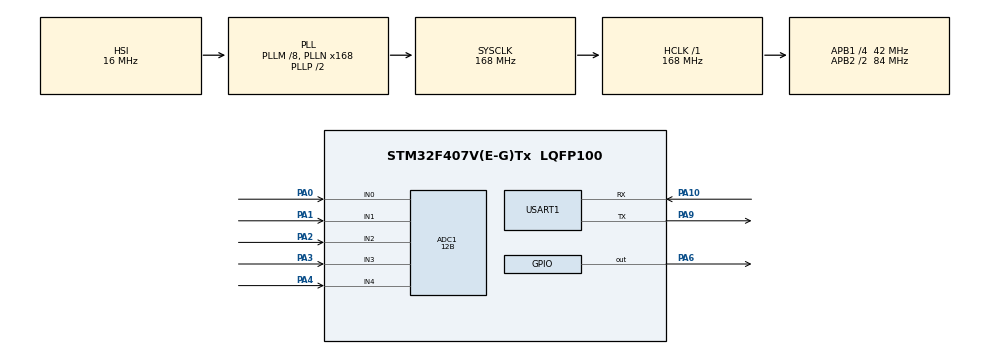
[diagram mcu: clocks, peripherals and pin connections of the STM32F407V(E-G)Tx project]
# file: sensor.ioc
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ADC1.Channel-3\#ChannelRegularConversion=ADC_CHANNEL_0
ADC1.Channel-4\#ChannelRegularConversion=ADC_CHANNEL_1
ADC1.Channel-5\#ChannelRegularConversion=ADC_CHANNEL_2
ADC1.Channel-6\#ChannelRegularConversion=ADC_CHANNEL_3
ADC1.Channel-7\#ChannelRegularConversion=ADC_CHANNEL_4
ADC1.ContinuousConvMode=ENABLE
ADC1.DMAContinuousRequests=ENABLE
ADC1.NbrOfConversion=5
ADC1.NbrOfConversionFlag=1
ADC1.Rank-3\#ChannelRegularConversion=1
ADC1.Rank-4\#ChannelRegularConversion=2
ADC1.Rank-5\#ChannelRegularConversion=3
ADC1.Rank-6\#ChannelRegularConversion=4
ADC1.Rank-7\#ChannelRegularConversion=5
ADC1.Resolution=ADC_RESOLUTION_12B
ADC1.SamplingTime-3\#ChannelRegularConversion=ADC_SAMPLETIME_3CYCLES
ADC1.SamplingTime-4\#ChannelRegularConversion=ADC_SAMPLETIME_3CYCLES
ADC1.SamplingTime-5\#ChannelRegularConversion=ADC_SAMPLETIME_3CYCLES
ADC1.SamplingTime-6\#ChannelRegularConversion=ADC_SAMPLETIME_3CYCLES
ADC1.SamplingTime-7\#ChannelRegularConversion=ADC_SAMPLETIME_3CYCLES
ADC1.master=1
Dma.ADC1.0.Direction=DMA_PERIPH_TO_MEMORY
Dma.ADC1.0.FIFOMode=DMA_FIFOMODE_DISABLE
Dma.ADC1.0.Instance=DMA2_Stream0
Dma.ADC1.0.MemDataAlignment=DMA_MDATAALIGN_WORD
Dma.ADC1.0.MemInc=DMA_MINC_ENABLE
Dma.ADC1.0.Mode=DMA_CIRCULAR
Dma.ADC1.0.PeriphDataAlignment=DMA_PDATAALIGN_WORD
Dma.ADC1.0.PeriphInc=DMA_PINC_DISABLE
Dma.ADC1.0.Priority=DMA_PRIORITY_LOW
Dma.Request0=ADC1
Dma.Request1=USART1_TX
Dma.Request2=USART1_RX
Dma.USART1_RX.2.Direction=DMA_PERIPH_TO_MEMORY
Dma.USART1_RX.2.FIFOMode=DMA_FIFOMODE_DISABLE
Dma.USART1_RX.2.Instance=DMA2_Stream2
Dma.USART1_RX.2.MemDataAlignment=DMA_MDATAALIGN_BYTE
Dma.USART1_RX.2.MemInc=DMA_MINC_ENABLE
Dma.USART1_RX.2.Mode=DMA_NORMAL
Dma.USART1_RX.2.PeriphDataAlignment=DMA_PDATAALIGN_BYTE
Dma.USART1_RX.2.PeriphInc=DMA_PINC_DISABLE
Dma.USART1_RX.2.Priority=DMA_PRIORITY_LOW
Dma.USART1_TX.1.Direction=DMA_MEMORY_TO_PERIPH
Dma.USART1_TX.1.FIFOMode=DMA_FIFOMODE_DISABLE
Dma.USART1_TX.1.Instance=DMA2_Stream7
Dma.USART1_TX.1.MemDataAlignment=DMA_MDATAALIGN_BYTE
Dma.USART1_TX.1.MemInc=DMA_MINC_ENABLE
Dma.USART1_TX.1.Mode=DMA_NORMAL
Dma.USART1_TX.1.PeriphDataAlignment=DMA_PDATAALIGN_BYTE
Dma.USART1_TX.1.PeriphInc=DMA_PINC_DISABLE
Dma.USART1_TX.1.Priority=DMA_PRIORITY_LOW
Mcu.Family=STM32F4
Mcu.Name=STM32F407V(E-G)Tx
Mcu.Package=LQFP100
NVIC.DMA2_Stream0_IRQn=true\:0\:0\:false\:false\:true\:false\:true
NVIC.DMA2_Stream2_IRQn=true\:0\:0\:false\:false\:true\:false\:true
NVIC.DMA2_Stream7_IRQn=true\:0\:0\:false\:false\:true\:false\:true
NVIC.PriorityGroup=NVIC_PRIORITYGROUP_4
NVIC.RCC_IRQn=true\:0\:0\:false\:false\:true\:true\:false
PA0-WKUP.Signal=ADCx_IN0
PA1.Signal=ADCx_IN1
PA10.Mode=Asynchronous
PA10.Signal=USART1_RX
PA13.Mode=Serial_Wire
PA13.Signal=SYS_JTMS-SWDIO
PA14.Mode=Serial_Wire
PA14.Signal=SYS_JTCK-SWCLK
PA2.Signal=ADCx_IN2
PA3.Signal=ADCx_IN3
PA4.Signal=ADCx_IN4
PA6.Signal=GPIO_Output
PA9.Mode=Asynchronous
PA9.Signal=USART1_TX
PC14-OSC32_IN.Mode=LSE-External-Oscillator
PC14-OSC32_IN.Signal=RCC_OSC32_IN
PC15-OSC32_OUT.Mode=LSE-External-Oscillator
PC15-OSC32_OUT.Signal=RCC_OSC32_OUT
PH0-OSC_IN.Mode=HSE-External-Oscillator
PH0-OSC_IN.Signal=RCC_OSC_IN
PH1-OSC_OUT.Mode=HSE-External-Oscillator
PH1-OSC_OUT.Signal=RCC_OSC_OUT
ProjectManager.HeapSize=0x200
ProjectManager.StackSize=0x400
ProjectManager.TargetToolchain=MDK-ARM V5
RCC.48MHZClocksFreq_Value=84000000
RCC.AHBFreq_Value=168000000
RCC.APB1CLKDivider=RCC_HCLK_DIV4
RCC.APB1Freq_Value=42000000
RCC.APB1TimFreq_Value=84000000
RCC.APB2CLKDivider=RCC_HCLK_DIV2
RCC.APB2Freq_Value=84000000
RCC.APB2TimFreq_Value=168000000
RCC.CortexFreq_Value=168000000
RCC.HCLKFreq_Value=168000000
RCC.HSE_VALUE=8000000
RCC.HSI_VALUE=16000000
RCC.PLLM=8
RCC.PLLN=168
RCC.SYSCLKFreq_VALUE=168000000
RCC.SYSCLKSource=RCC_SYSCLKSOURCE_PLLCLK
RCC.VCOOutputFreq_Value=336000000
SH.ADCx_IN0.0=ADC1_IN0,IN0
SH.ADCx_IN1.0=ADC1_IN1,IN1
SH.ADCx_IN2.0=ADC1_IN2,IN2
SH.ADCx_IN3.0=ADC1_IN3,IN3
SH.ADCx_IN4.0=ADC1_IN4,IN4
USART1.VirtualMode=VM_ASYNC
board=custom

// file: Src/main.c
/* USER CODE BEGIN Header */
/**
  ******************************************************************************
  * @file           : main.c
  * @brief          : Main program body
  ******************************************************************************
  * @DEV      : Ratchaphon Khaemphukhieo KMTIL R&D 17/03/2019
  *
  * <h2><center>&copy; Copyright (c) 2019 STMicroelectronics.
  * All rights reserved.</center></h2>
  *
  * This software component is licensed by ST under BSD 3-Clause license,
  * the "License"; You may not use this file except in compliance with the
  * License. You may obtain a copy of the License at:
  *                        opensource.org/licenses/BSD-3-Clause
  *
  ******************************************************************************
  */
/* USER CODE END Header */

#include "main.h"
#include "stdio.h"
#include "string.h"
#include <stdlib.h>

ADC_HandleTypeDef hadc1;
DMA_HandleTypeDef hdma_adc1;

UART_HandleTypeDef huart1;
DMA_HandleTypeDef hdma_usart1_tx;
DMA_HandleTypeDef hdma_usart1_rx;

/* USER CODE BEGIN PV */
/* Private variables ---------------------------------------------------------*/
uint32_t _ADC_PA0,_ADC_PA1,_ADC_PA2,_ADC_PA3,_ADC_PA4;  // variables for analog sensor
uint32_t _buffer[5]; // buffer for DMA analog sensor
int32_t txFrame[10]; // buffer for protocol
char UART[21]; // buffer for test state using UART TX
char buff[7];  // buffer for test state using UART RX
char PWM_Buffer0[4]; // buffer for control PWM motor 00 state using UART RX
char PWM_Buffer1[4]; // buffer for control PWM motor 01 state using UART RX
uint8_t PWM_Control0 = 0; // variables PWM for motor 00
uint8_t PWM_Control1 = 0; // variables PWM for motor 01

/* USER CODE BEGIN STATE */

/* USER CODE BEGIN STATE */
uint8_t MAIN_STATE = 0;
uint8_t READ_STATE = 0;
uint8_t ADC_STATE = 0;
uint8_t I2C_MUX_STATE = 0;
uint8_t CONTROL_STATE = 0;
enum _MAIN_STATE { _IDLE, _READ, _CONTROL, _SENT };
enum _READ_STATE { _I2C_MUX, _ADC };
enum _I2C_MUX_STATE { _I2C_TOUCH0, _I2C_TOUCH1, _I2C_TOUCH2, _I2C_TOUCH3, _I2C_TOUCH4 };
enum _Format_Frame_STATE { _Format_Frame };
enum _CONTROL_STATE { _I2C_Haptic0, _I2C_Haptic1 };
/* USER CODE END STATE */

/* USER CODE END PV */

void SystemClock_Config(void);
static void MX_GPIO_Init(void);
static void MX_DMA_Init(void);
static void MX_ADC1_Init(void);
static void MX_USART1_UART_Init(void);
void _IDLE_CHECK_Func(void);
void _READ_STATE_Func(void);
void _I2C_MUX_STATE_func(void);
void _Format_Frame_STATE_Func(void);
void _CONTROL_STATE_Func(void);
void _SENT_Func(void);

/* USER CODE BEGIN DMA ADC */
void HAL_ADC_ConvCpltCallback(ADC_HandleTypeDef* hadc)
{
	for(int i=0;i<5;i++)
	{
		switch(i)
		{
			case 0 : _ADC_PA0 = _buffer[i]; break;
			case 1 : _ADC_PA1 = _buffer[i]; break;
			case 2 : _ADC_PA2 = _buffer[i]; break;
			case 3 : _ADC_PA3 = _buffer[i]; break;
			case 4 : _ADC_PA4 = _buffer[i]; break;
		}
	}
}
/* USER CODE END DMA ADC */

int main(void)
{

  /* MCU Configuration--------------------------------------------------------*/

  /* Reset of all peripherals, Initializes the Flash interface and the Systick. */
  HAL_Init();

  /* Configure the system clock */
  SystemClock_Config();

  /* Initialize all configured peripherals */
  MX_GPIO_Init();
  MX_DMA_Init();
  MX_ADC1_Init();
  MX_USART1_UART_Init();
  /* USER CODE BEGIN 2 */
	HAL_ADC_Start_DMA(&hadc1,_buffer,5);
  /* USER CODE END 2 */

  /* Infinite loop */
  /* USER CODE BEGIN WHILE */
  while (1)
  {
			/* MAIN_STATE */
			switch(MAIN_STATE)
			{
				case _IDLE : _IDLE_CHECK_Func(); break;
				case _READ : _READ_STATE_Func(); MAIN_STATE = _SENT; break;
				case _CONTROL : _CONTROL_STATE_Func(); MAIN_STATE = _IDLE; break;
				case _SENT : _SENT_Func(); MAIN_STATE = _IDLE; break;
				default : MAIN_STATE = _IDLE;
			}

  }
  /* USER CODE END 3 */
}

void _SENT_Func(void)
{
				for(int i=0;i<sizeof(txFrame)/sizeof(txFrame[0]);i++)
				{
					sprintf(UART,"txFrame[%d] = %d\r\n",i,txFrame[i]);
					HAL_UART_Transmit(&huart1,(uint8_t *)UART,sizeof(UART),sizeof(UART)/sizeof(UART[0]));
					for(int i=0;i<sizeof(UART)/sizeof(UART[0]);i++) UART[i] = 0;
				}
}

void _IDLE_CHECK_Func(void)
{
	memset( buff, 0, 7 );
	HAL_UART_Receive(&huart1, (uint8_t *)buff, 7, 10 );
	if(buff[0]=='r')
	{
		sprintf(UART,"RX = %s\r\n",buff);
		HAL_UART_Transmit(&huart1,(uint8_t *)UART,sizeof(UART),sizeof(UART)/sizeof(UART[0]));
		for(int i=0;i<sizeof(UART)/sizeof(UART[0]);i++) UART[i] = 0;
		MAIN_STATE = _READ;
	}
	else if(buff[0]=='c')
	{
		PWM_Buffer0[0] = buff[1];
		PWM_Buffer0[1] = buff[2];
		PWM_Buffer0[2] = buff[3];
		PWM_Buffer1[0] = buff[4];
		PWM_Buffer1[1] = buff[5];
		PWM_Buffer1[2] = buff[6];
		PWM_Control0 = atoi(PWM_Buffer0);
		PWM_Control1 = atoi(PWM_Buffer1);
		sprintf(UART,"RX = %s\r\n",buff);
		HAL_UART_Transmit(&huart1,(uint8_t *)UART,sizeof(UART),sizeof(UART)/sizeof(UART[0]));
		for(int i=0;i<sizeof(UART)/sizeof(UART[0]);i++) UART[i] = 0;
		MAIN_STATE = _CONTROL;
	}
	else MAIN_STATE = _IDLE;
}

void _READ_STATE_Func(void)
{
		switch(READ_STATE)
		{
			case _ADC :
			{
				txFrame[0] = _ADC_PA0;
				txFrame[1] = _ADC_PA1;
				txFrame[2] = _ADC_PA2;
				txFrame[3] = _ADC_PA3;
				txFrame[4] = _ADC_PA4;
				READ_STATE = _I2C_MUX;
			}
			case _I2C_MUX :
			{
				_I2C_MUX_STATE_func();
				READ_STATE = _ADC;
				break;
			}
			default : READ_STATE = _ADC;
		}
}

void _I2C_MUX_STATE_func(void)
{
		switch(I2C_MUX_STATE)
		{
			case _I2C_TOUCH0 :
			{
				txFrame[5] = 0;
				I2C_MUX_STATE = _I2C_TOUCH1;
			}
			case _I2C_TOUCH1 :
			{
				txFrame[6] = 0;
				I2C_MUX_STATE = _I2C_TOUCH2;
			}
			case _I2C_TOUCH2 :
			{
				txFrame[7] = 0;
				I2C_MUX_STATE = _I2C_TOUCH3;
			}
			case _I2C_TOUCH3 :
			{
				txFrame[8] = 0;
				I2C_MUX_STATE = _I2C_TOUCH4;
			}
			case _I2C_TOUCH4 :
			{
				txFrame[9] = 0;
				I2C_MUX_STATE = _I2C_TOUCH0;
				break;
			}
			default : I2C_MUX_STATE = _I2C_TOUCH0;
		}
}

void _Format_Frame_STATE_Func(void)
{
   // Create Protocol
}

void _CONTROL_STATE_Func(void)
{
		switch(CONTROL_STATE)
		{
			case _I2C_TOUCH0 :
			{
				//PWM_Control0 (0 - 100%)
				sprintf(UART,"PWM_Control0 = %d\r\n",PWM_Control0);
				HAL_UART_Transmit(&huart1,(uint8_t *)UART,sizeof(UART),sizeof(UART)/sizeof(UART[0]));
				for(int i=0;i<sizeof(UART)/sizeof(UART[0]);i++) UART[i] = 0;
				I2C_MUX_STATE = _I2C_Haptic1;
			}
			case _I2C_TOUCH1 :
			{
				//PWM_Control1 (0 - 100%)
				sprintf(UART,"PWM_Control1 = %d\r\n",PWM_Control1);
				HAL_UART_Transmit(&huart1,(uint8_t *)UART,sizeof(UART),sizeof(UART)/sizeof(UART[0]));
				for(int i=0;i<sizeof(UART)/sizeof(UART[0]);i++) UART[i] = 0;
				I2C_MUX_STATE = _I2C_Haptic0;
				break;
			}
		}
}

void SystemClock_Config(void)
{
  RCC_OscInitTypeDef RCC_OscInitStruct = {0};
  RCC_ClkInitTypeDef RCC_ClkInitStruct = {0};

  /** Configure the main internal regulator output voltage
  */
  __HAL_RCC_PWR_CLK_ENABLE();
  __HAL_PWR_VOLTAGESCALING_CONFIG(PWR_REGULATOR_VOLTAGE_SCALE1);
  /** Initializes the CPU, AHB and APB busses clocks
  */
  RCC_OscInitStruct.OscillatorType = RCC_OSCILLATORTYPE_HSI;
  RCC_OscInitStruct.HSIState = RCC_HSI_ON;
  RCC_OscInitStruct.HSICalibrationValue = RCC_HSICALIBRATION_DEFAULT;
  RCC_OscInitStruct.PLL.PLLState = RCC_PLL_ON;
  RCC_OscInitStruct.PLL.PLLSource = RCC_PLLSOURCE_HSI;
  RCC_OscInitStruct.PLL.PLLM = 8;
  RCC_OscInitStruct.PLL.PLLN = 168;
  RCC_OscInitStruct.PLL.PLLP = RCC_PLLP_DIV2;
  RCC_OscInitStruct.PLL.PLLQ = 4;
  if (HAL_RCC_OscConfig(&RCC_OscInitStruct) != HAL_OK)
  {
    Error_Handler();
  }
  /** Initializes the CPU, AHB and APB busses clocks
  */
  RCC_ClkInitStruct.ClockType = RCC_CLOCKTYPE_HCLK|RCC_CLOCKTYPE_SYSCLK
                              |RCC_CLOCKTYPE_PCLK1|RCC_CLOCKTYPE_PCLK2;
  RCC_ClkInitStruct.SYSCLKSource = RCC_SYSCLKSOURCE_PLLCLK;
  RCC_ClkInitStruct.AHBCLKDivider = RCC_SYSCLK_DIV1;
  RCC_ClkInitStruct.APB1CLKDivider = RCC_HCLK_DIV4;
  RCC_ClkInitStruct.APB2CLKDivider = RCC_HCLK_DIV2;

  if (HAL_RCC_ClockConfig(&RCC_ClkInitStruct, FLASH_LATENCY_5) != HAL_OK)
  {
    Error_Handler();
  }
}

static void MX_ADC1_Init(void)
{

  ADC_ChannelConfTypeDef sConfig = {0};

  /** Configure the global features of the ADC (Clock, Resolution, Data Alignment and number of conversion)
  */
  hadc1.Instance = ADC1;
  hadc1.Init.ClockPrescaler = ADC_CLOCK_SYNC_PCLK_DIV4;
  hadc1.Init.Resolution = ADC_RESOLUTION_12B;
  hadc1.Init.ScanConvMode = ENABLE;
  hadc1.Init.ContinuousConvMode = ENABLE;
  hadc1.Init.DiscontinuousConvMode = DISABLE;
  hadc1.Init.ExternalTrigConvEdge = ADC_EXTERNALTRIGCONVEDGE_NONE;
  hadc1.Init.ExternalTrigConv = ADC_SOFTWARE_START;
  hadc1.Init.DataAlign = ADC_DATAALIGN_RIGHT;
  hadc1.Init.NbrOfConversion = 5;
  hadc1.Init.DMAContinuousRequests = ENABLE;
  hadc1.Init.EOCSelection = ADC_EOC_SINGLE_CONV;
  if (HAL_ADC_Init(&hadc1) != HAL_OK)
  {
    Error_Handler();
  }
  /** Configure for the selected ADC regular channel its corresponding rank in the sequencer and its sample time.
  */
  sConfig.Channel = ADC_CHANNEL_0;
  sConfig.Rank = 1;
  sConfig.SamplingTime = ADC_SAMPLETIME_3CYCLES;
  if (HAL_ADC_ConfigChannel(&hadc1, &sConfig) != HAL_OK)
  {
    Error_Handler();
  }
  /** Configure for the selected ADC regular channel its corresponding rank in the sequencer and its sample time.
  */
  sConfig.Channel = ADC_CHANNEL_1;
  sConfig.Rank = 2;
  if (HAL_ADC_ConfigChannel(&hadc1, &sConfig) != HAL_OK)
  {
    Error_Handler();
  }
  /** Configure for the selected ADC regular channel its corresponding rank in the sequencer and its sample time.
  */
  sConfig.Channel = ADC_CHANNEL_2;
  sConfig.Rank = 3;
  if (HAL_ADC_ConfigChannel(&hadc1, &sConfig) != HAL_OK)
  {
    Error_Handler();
  }
  /** Configure for the selected ADC regular channel its corresponding rank in the sequencer and its sample time.
  */
  sConfig.Channel = ADC_CHANNEL_3;
  sConfig.Rank = 4;
  if (HAL_ADC_ConfigChannel(&hadc1, &sConfig) != HAL_OK)
  {
    Error_Handler();
  }
  /** Configure for the selected ADC regular channel its corresponding rank in the sequencer and its sample time.
  */
  sConfig.Channel = ADC_CHANNEL_4;
  sConfig.Rank = 5;
  if (HAL_ADC_ConfigChannel(&hadc1, &sConfig) != HAL_OK)
  {
    Error_Handler();
  }

}

static void MX_USART1_UART_Init(void)
{

  huart1.Instance = USART1;
  huart1.Init.BaudRate = 115200;
  huart1.Init.WordLength = UART_WORDLENGTH_8B;
  huart1.Init.StopBits = UART_STOPBITS_1;
  huart1.Init.Parity = UART_PARITY_NONE;
  huart1.Init.Mode = UART_MODE_TX_RX;
  huart1.Init.HwFlowCtl = UART_HWCONTROL_NONE;
  huart1.Init.OverSampling = UART_OVERSAMPLING_16;
  if (HAL_UART_Init(&huart1) != HAL_OK)
  {
    Error_Handler();
  }

}

static void MX_DMA_Init(void)
{
  /* DMA controller clock enable */
  __HAL_RCC_DMA2_CLK_ENABLE();

  /* DMA interrupt init */
  /* DMA2_Stream0_IRQn interrupt configuration */
  HAL_NVIC_SetPriority(DMA2_Stream0_IRQn, 0, 0);
  HAL_NVIC_EnableIRQ(DMA2_Stream0_IRQn);
  /* DMA2_Stream2_IRQn interrupt configuration */
  HAL_NVIC_SetPriority(DMA2_Stream2_IRQn, 0, 0);
  HAL_NVIC_EnableIRQ(DMA2_Stream2_IRQn);
  /* DMA2_Stream7_IRQn interrupt configuration */
  HAL_NVIC_SetPriority(DMA2_Stream7_IRQn, 0, 0);
  HAL_NVIC_EnableIRQ(DMA2_Stream7_IRQn);

}

static void MX_GPIO_Init(void)
{
  GPIO_InitTypeDef GPIO_InitStruct = {0};

  /* GPIO Ports Clock Enable */
  __HAL_RCC_GPIOC_CLK_ENABLE();
  __HAL_RCC_GPIOH_CLK_ENABLE();
  __HAL_RCC_GPIOA_CLK_ENABLE();

  /*Configure GPIO pin Output Level */
  HAL_GPIO_WritePin(GPIOA, GPIO_PIN_6, GPIO_PIN_RESET);

  /*Configure GPIO pin : PA6 */
  GPIO_InitStruct.Pin = GPIO_PIN_6;
  GPIO_InitStruct.Mode = GPIO_MODE_OUTPUT_PP;
  GPIO_InitStruct.Pull = GPIO_NOPULL;
  GPIO_InitStruct.Speed = GPIO_SPEED_FREQ_LOW;
  HAL_GPIO_Init(GPIOA, &GPIO_InitStruct);

}

void Error_Handler(void)
{
}

/************************ (C) COPYRIGHT STMicroelectronics *****END OF FILE****/
